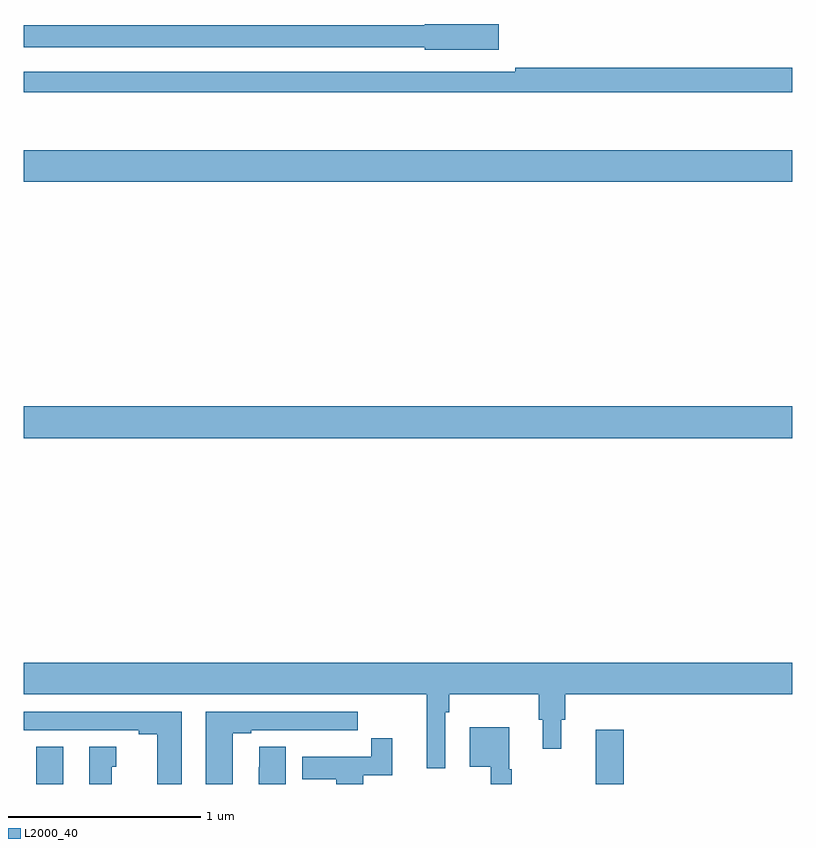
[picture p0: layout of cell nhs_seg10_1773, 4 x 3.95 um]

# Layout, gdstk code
import gdstk
lib = gdstk.Library(unit=1e-6, precision=1e-09)
def R(c, l, rs):  # rectangles x0, y0, x1, y1
    for r in rs: c.add(gdstk.rectangle(r[:2], r[2:], *l))
def P(c, l, *ps):  # polygons
    for p in ps: c.add(gdstk.Polygon(p, *l))
L2000_40 = (2000, 40)

nhs_seg10_1773 = lib.new_cell('nhs_seg10_1773')
R(nhs_seg10_1773, L2000_40, [(203.066,1314.5,203.206,1314.694), (205.976,1314.5,206.123,1314.781), (203,1316.3,207,1316.464), (203,1317.632,207,1317.796)])
P(nhs_seg10_1773, L2000_40, [(205.471,1318.454),(205.086,1318.454),(205.086,1318.448),(203,1318.448),(203,1318.332),(205.086,1318.332),(205.086,1318.319),(205.471,1318.319)],
  [(207,1318.226),(205.558,1318.226),(205.558,1318.206),(203,1318.206),(203,1318.098),(207,1318.098)],
  [(205.194,1314.872),(205.214,1314.872),(205.214,1314.968),(205.681,1314.968),(205.681,1314.834),(205.7,1314.834),(205.7,1314.684),(205.798,1314.684),(205.798,1314.834),(205.817,1314.834),(205.817,1314.968),(207,1314.968),(207,1315.132),(203,1315.132),(203,1314.968),(205.097,1314.968),(205.097,1314.582),(205.194,1314.582)],
  [(204.088,1314.765),(204.184,1314.765),(204.184,1314.78),(204.46,1314.78),(204.46,1314.779),(204.626,1314.779),(204.626,1314.78),(204.739,1314.78),(204.739,1314.876),(203.948,1314.876),(203.948,1314.5),(204.088,1314.5)],
  [(203.824,1314.876),(203,1314.876),(203,1314.78),(203.6,1314.78),(203.6,1314.76),(203.696,1314.76),(203.696,1314.5),(203.824,1314.5)],
  [(205.54,1314.576),(205.528,1314.576),(205.528,1314.796),(205.322,1314.796),(205.322,1314.59),(205.431,1314.59),(205.431,1314.5),(205.54,1314.5)],
  [(204.766,1314.546),(204.917,1314.546),(204.917,1314.739),(204.808,1314.739),(204.808,1314.642),(204.449,1314.642),(204.449,1314.526),(204.626,1314.526),(204.626,1314.5),(204.766,1314.5)],
  [(204.364,1314.695),(204.225,1314.695),(204.225,1314.587),(204.224,1314.587),(204.224,1314.5),(204.364,1314.5)],
  [(203.458,1314.591),(203.482,1314.591),(203.482,1314.694),(203.342,1314.694),(203.342,1314.5),(203.458,1314.5)])

lib.write_gds('nhs_seg10_1773.gds')
